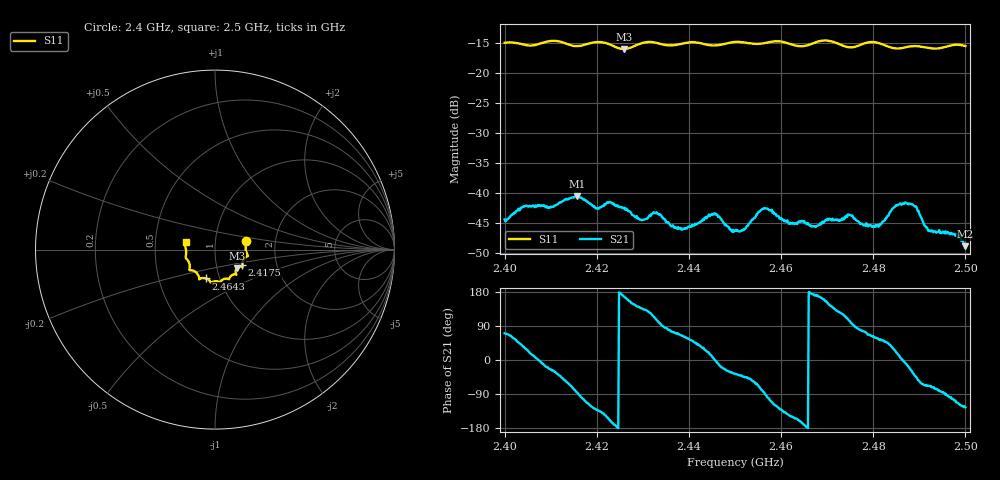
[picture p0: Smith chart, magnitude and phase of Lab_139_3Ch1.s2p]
# Hz S RI R 50
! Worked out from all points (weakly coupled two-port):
!   601 points, 2.4 GHz to 2.5 GHz, reference 50 ohm
!   highest |S21| = -40.49 dB at 2.4157 GHz (marker M1); lowest = -48.8 dB at 2.5 GHz (marker M2)
!   lowest |S11| = -15.9 dB at 2.4258 GHz (marker M3), VSWR 1.38, Z = 62.3 - j13.2 ohm
!   |S11| at or under -10 dB: start of sweep to end of sweep
!   S12 and S22 are empty: the file has one direction only
!   S11 on the Smith chart (normalised r, x): 2.4 GHz: 1.41, +0.14; 2.4175 GHz: 1.34, -0.23; 2.4643 GHz: 0.86, -0.28; 2.5 GHz: 0.72, +0.06
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2.4e9  0.1734 0.0487  0.00203 0.00568  0 0  0 0
2.404167e9  0.1722 0.0234  0.00638 0.00448  0 0  0 0
2.415667e9  0.1566 -0.0629  0.000825 -0.00941  0 0  0 0
2.416667e9  0.1533 -0.0748  -0.00144 -0.00907  0 0  0 0
2.4175e9  0.1522 -0.0842  -0.0028 -0.00833  0 0  0 0
2.425833e9  0.1213 -0.1036  -0.0073 0.00157  0 0  0 0
2.429667e9  0.1167 -0.1346  -0.00436 0.00412  0 0  0 0
2.433333e9  0.1131 -0.1373  -0.00131 0.0066  0 0  0 0
2.438833e9  0.0803 -0.159  0.00236 0.00446  0 0  0 0
2.445667e9  0.05 -0.1635  0.00679 -6.24e-05  0 0  0 0
2.45e9  0.0287 -0.1808  0.0039 -0.00284  0 0  0 0
2.4565e9  -0.0102 -0.1791  7.35e-05 -0.0075  0 0  0 0
2.464333e9  -0.0502 -0.1607  -0.00557 -0.00167  0 0  0 0
2.466667e9  -0.0762 -0.1592  -0.00525 0.000461  0 0  0 0
2.475e9  -0.1061 -0.1261  -0.0013 0.00647  0 0  0 0
2.480667e9  -0.1431 -0.111  0.00274 0.00452  0 0  0 0
2.483333e9  -0.1407 -0.0899  0.00478 0.0044  0 0  0 0
2.485333e9  -0.1458 -0.0686  0.00773 0.00208  0 0  0 0
2.488333e9  -0.1616 -0.0484  0.0071 -0.00384  0 0  0 0
2.492e9  -0.161 -0.0256  0.00179 -0.00449  0 0  0 0
2.498333e9  -0.17 0.0341  -0.00168 -0.00393  0 0  0 0
2.5e9  -0.1637 0.0428  -0.00206 -0.00296  0 0  0 0
